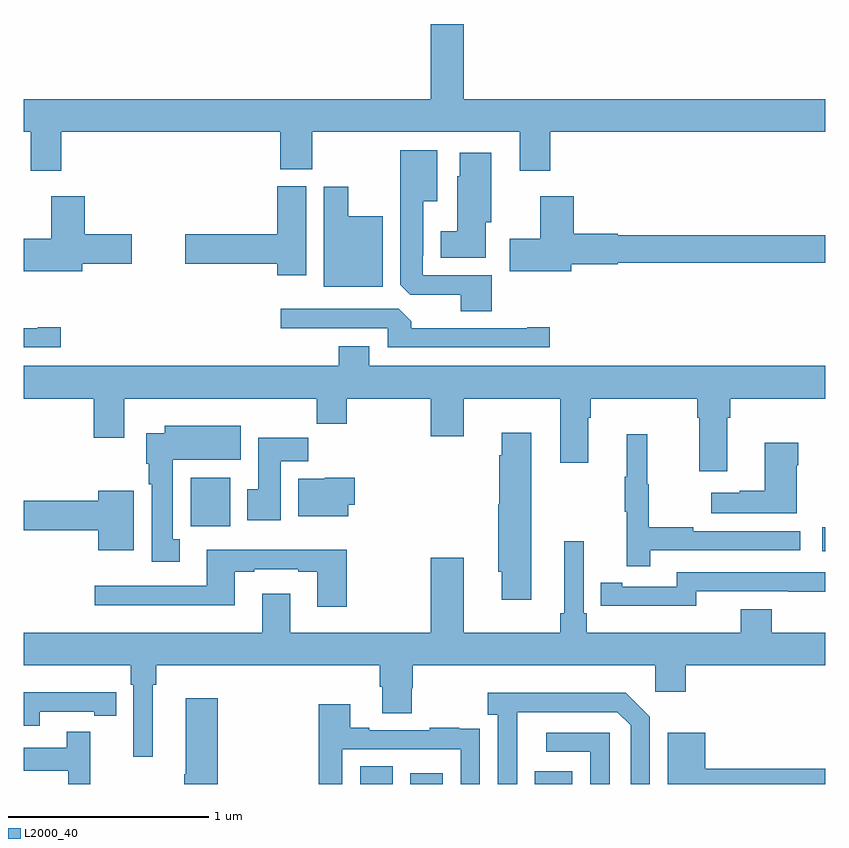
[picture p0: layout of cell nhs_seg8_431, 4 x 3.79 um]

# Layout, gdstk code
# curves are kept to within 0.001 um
import gdstk
lib = gdstk.Library(unit=1e-6, precision=1e-09)
def R(c, l, rs):  # rectangles x0, y0, x1, y1
    for r in rs: c.add(gdstk.rectangle(r[:2], r[2:], *l))
def P(c, l, *ps):  # polygons
    for p in ps: c.add(gdstk.Polygon(p, *l))
L2000_40 = (2000, 40)

nhs_seg8_431 = lib.new_cell('nhs_seg8_431')
R(nhs_seg8_431, L2000_40, [(140.678,1123.9,140.842,1123.988), (140.93,1123.9,141.091,1123.954), (141.551,1123.9,141.739,1123.963), (142.986,1125.063,143,1125.183), (139.832,1125.188,140.029,1125.43)])
P(nhs_seg8_431, L2000_40, [(139.187,1127.156),(140.279,1127.156),(140.279,1126.969),(140.439,1126.969),(140.439,1127.156),(141.476,1127.156),(141.476,1126.962),(141.629,1126.962),(141.629,1127.156),(143,1127.156),(143,1127.32),(141.196,1127.32),(141.196,1127.695),(141.032,1127.695),(141.032,1127.32),(139,1127.32),(139,1127.156),(139.034,1127.156),(139.034,1126.962),(139.187,1126.962)],
  [(141.335,1126.44),(140.991,1126.44),(140.991,1126.537),(140.995,1126.537),(140.995,1126.811),(141.064,1126.811),(141.064,1127.065),(140.879,1127.065),(140.879,1126.393),(140.928,1126.344),(141.182,1126.344),(141.182,1126.261),(141.335,1126.261)],
  [(141.307,1126.704),(141.334,1126.704),(141.334,1127.053),(141.176,1127.053),(141.176,1126.935),(141.164,1126.935),(141.164,1126.66),(141.08,1126.66),(141.08,1126.529),(141.307,1126.529)],
  [(140.41,1126.884),(140.264,1126.884),(140.264,1126.646),(139.806,1126.646),(139.806,1126.499),(140.264,1126.499),(140.264,1126.44),(140.41,1126.44)],
  [(140.791,1126.735),(140.62,1126.735),(140.62,1126.882),(140.498,1126.882),(140.498,1126.382),(140.791,1126.382)],
  [(141.733,1126.496),(141.966,1126.496),(141.966,1126.504),(143,1126.504),(143,1126.64),(141.966,1126.64),(141.966,1126.648),(141.746,1126.648),(141.746,1126.834),(141.578,1126.834),(141.578,1126.623),(141.426,1126.623),(141.426,1126.46),(141.733,1126.46)],
  [(139.291,1126.499),(139.537,1126.499),(139.537,1126.646),(139.304,1126.646),(139.304,1126.834),(139.136,1126.834),(139.136,1126.623),(139,1126.623),(139,1126.46),(139.291,1126.46)],
  [(141.625,1126.181),(141.512,1126.181),(141.512,1126.176),(140.933,1126.176),(140.933,1126.21),(140.871,1126.272),(140.283,1126.272),(140.283,1126.176),(140.817,1126.176),(140.817,1126.08),(141.625,1126.08)],
  [(139.183,1126.181),(139.07,1126.181),(139.07,1126.176),(139,1126.176),(139,1126.08),(139.183,1126.08)],
  [(142.513,1125.728),(142.526,1125.728),(142.526,1125.824),(143,1125.824),(143,1125.988),(140.725,1125.988),(140.725,1126.087),(140.573,1126.087),(140.573,1125.988),(139,1125.988),(139,1125.824),(139.349,1125.824),(139.349,1125.63),(139.501,1125.63),(139.501,1125.824),(140.461,1125.824),(140.461,1125.7),(140.613,1125.7),(140.613,1125.824),(141.032,1125.824),(141.032,1125.636),(141.196,1125.636),(141.196,1125.824),(141.677,1125.824),(141.677,1125.504),(141.817,1125.504),(141.817,1125.728),(141.83,1125.728),(141.83,1125.824),(142.361,1125.824),(142.361,1125.728),(142.373,1125.728),(142.373,1125.462),(142.513,1125.462)],
  [(139.777,1125.122),(139.744,1125.122),(139.744,1125.518),(140.083,1125.518),(140.083,1125.688),(139.703,1125.688),(139.703,1125.652),(139.61,1125.652),(139.61,1125.498),(139.622,1125.498),(139.622,1125.398),(139.637,1125.398),(139.637,1125.009),(139.777,1125.009)],
  [(141.532,1125.655),(141.386,1125.655),(141.386,1125.542),(141.374,1125.542),(141.374,1125.297),(141.368,1125.297),(141.368,1124.961),(141.386,1124.961),(141.386,1124.82),(141.532,1124.82)],
  [(142.127,1125.066),(142.876,1125.066),(142.876,1125.162),(142.343,1125.162),(142.343,1125.182),(142.12,1125.182),(142.12,1125.396),(142.112,1125.396),(142.112,1125.646),(142.01,1125.646),(142.01,1125.433),(141.999,1125.433),(141.999,1125.259),(142.01,1125.259),(142.01,1124.988),(142.127,1124.988)],
  [(140.281,1125.512),(140.42,1125.512),(140.42,1125.63),(140.171,1125.63),(140.171,1125.372),(140.114,1125.372),(140.114,1125.216),(140.281,1125.216)],
  [(142.858,1125.491),(142.866,1125.491),(142.866,1125.604),(142.7,1125.604),(142.7,1125.365),(142.574,1125.365),(142.574,1125.355),(142.431,1125.355),(142.431,1125.251),(142.858,1125.251)],
  [(140.62,1125.294),(140.651,1125.294),(140.651,1125.43),(140.502,1125.43),(140.502,1125.424),(140.369,1125.424),(140.369,1125.236),(140.62,1125.236)],
  [(139.549,1125.364),(139.37,1125.364),(139.37,1125.314),(139,1125.314),(139,1125.167),(139.37,1125.167),(139.37,1125.068),(139.549,1125.068)],
  [(139.642,1124.396),(139.661,1124.396),(139.661,1124.492),(140.777,1124.492),(140.777,1124.386),(140.789,1124.386),(140.789,1124.254),(140.937,1124.254),(140.937,1124.379),(140.942,1124.379),(140.942,1124.492),(142.152,1124.492),(142.152,1124.361),(142.304,1124.361),(142.304,1124.492),(143,1124.492),(143,1124.656),(142.733,1124.656),(142.733,1124.773),(142.58,1124.773),(142.58,1124.656),(141.809,1124.656),(141.809,1124.752),(141.795,1124.752),(141.795,1125.112),(141.698,1125.112),(141.698,1124.752),(141.679,1124.752),(141.679,1124.656),(141.196,1124.656),(141.196,1125.031),(141.032,1125.031),(141.032,1124.656),(140.329,1124.656),(140.329,1124.851),(140.189,1124.851),(140.189,1124.656),(139,1124.656),(139,1124.492),(139.532,1124.492),(139.532,1124.396),(139.545,1124.396),(139.545,1124.037),(139.642,1124.037)],
  [(140.613,1125.07),(139.913,1125.07),(139.913,1124.889),(139.353,1124.889),(139.353,1124.792),(140.053,1124.792),(140.053,1124.961),(140.149,1124.961),(140.149,1124.973),(140.369,1124.973),(140.369,1124.961),(140.465,1124.961),(140.465,1124.784),(140.613,1124.784)],
  [(142.356,1124.862),(142.816,1124.862),(142.816,1124.861),(143,1124.861),(143,1124.958),(142.26,1124.958),(142.26,1124.886),(141.988,1124.886),(141.988,1124.906),(141.88,1124.906),(141.88,1124.79),(141.988,1124.79),(141.988,1124.789),(142.356,1124.789)],
  [(139.08,1124.262),(139.352,1124.262),(139.352,1124.242),(139.46,1124.242),(139.46,1124.358),(139.352,1124.358),(139.352,1124.359),(139,1124.359),(139,1124.19),(139.08,1124.19)],
  [(141.462,1124.059),(141.463,1124.259),(141.963,1124.259),(142.029,1124.193),(142.029,1123.9),(142.125,1123.9),(142.125,1124.235),(142.004,1124.356),(141.315,1124.356),(141.315,1124.246),(141.366,1124.246),(141.366,1123.9),(141.462,1123.9)],
  [(139.967,1124.329),(139.808,1124.329),(139.808,1123.949),(139.801,1123.949),(139.801,1123.9),(139.967,1123.9)],
  [(140.589,1124.073),(141.18,1124.073),(141.18,1123.9),(141.276,1123.9),(141.276,1124.066),(141.275,1124.066),(141.275,1124.175),(141.173,1124.175),(141.173,1124.182),(141.025,1124.182),(141.025,1124.169),(140.725,1124.169),(140.725,1124.182),(140.629,1124.182),(140.629,1124.299),(140.473,1124.299),(140.473,1123.9),(140.589,1123.9)],
  [(139.331,1124.161),(139.213,1124.161),(139.213,1124.082),(139,1124.082),(139,1123.966),(139.221,1123.966),(139.221,1123.9),(139.331,1123.9)],
  [(141.924,1124.157),(141.609,1124.157),(141.609,1124.061),(141.828,1124.061),(141.828,1123.9),(141.924,1123.9)],
  [(143,1123.976),(142.401,1123.976),(142.401,1124.155),(142.214,1124.155),(142.214,1123.9),(143,1123.9)])

lib.write_gds('nhs_seg8_431.gds')
